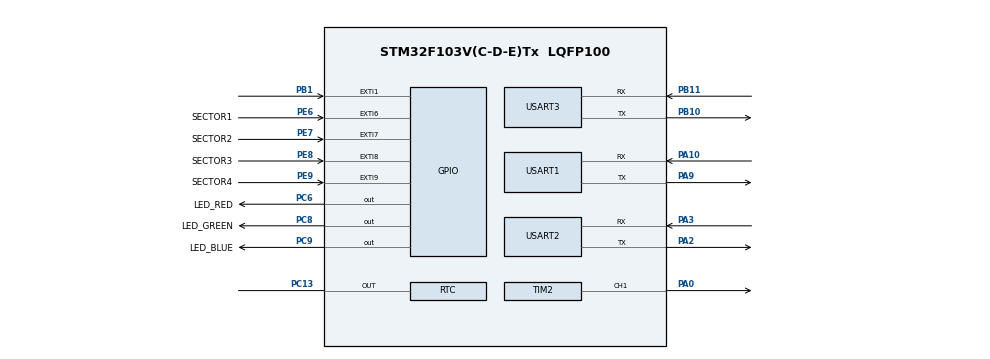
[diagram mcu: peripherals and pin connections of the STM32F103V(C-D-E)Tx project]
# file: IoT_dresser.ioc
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Mcu.Family=STM32F1
NVIC.USART3_IRQn=true\:0\:0\:false\:false\:true\:true\:true
PE7.GPIO_PuPd=GPIO_PULLUP
PB10.Mode=Asynchronous
PE8.GPIO_PuPd=GPIO_PULLUP
PC6.GPIO_Label=LED_RED
VP_RTC_VS_RTC_Activate.Mode=RTC_Enabled
RTC.WeekDay=RTC_WEEKDAY_SUNDAY
PB11.Signal=USART3_RX
PE6.GPIO_Label=SECTOR1
ProjectManager.StackSize=0x400
PC8.PinState=GPIO_PIN_SET
NVIC.RTC_IRQn=true\:0\:0\:false\:false\:true\:true\:true
NVIC.EXTI1_IRQn=true\:0\:0\:false\:false\:true\:true\:true
PB1.GPIO_PuPd=GPIO_PULLUP
PB1.GPIO_ModeDefaultEXTI=GPIO_MODE_IT_FALLING
OSC_OUT.Mode=HSE-External-Oscillator
OSC_OUT.Signal=RCC_OSC_OUT
RCC.HSE_VALUE=12000000
RCC.RTCClockSelection=RCC_RTCCLKSOURCE_HSE_DIV128
PE8.GPIO_ModeDefaultEXTI=GPIO_MODE_IT_FALLING
RTC.Month=RTC_MONTH_JULY
PE9.Signal=GPXTI9
PA14.Mode=Serial_Wire
NVIC.TIM2_IRQn=true\:0\:0\:false\:false\:true\:true\:true
TIM2.Channel-PWM\ Generation1\ CH1=TIM_CHANNEL_1
Mcu.Package=LQFP100
TIM2.Prescaler=16-1
PB1.Signal=GPXTI1
USART2.VirtualMode=VM_ASYNC
PA10.Signal=USART1_RX
VP_RTC_VS_RTC_Calendar.Mode=RTC_Calendar
PE7.Signal=GPXTI7
NVIC.USART1_IRQn=true\:0\:0\:false\:false\:true\:true\:true
PE6.GPIO_PuPd=GPIO_PULLUP
NVIC.RCC_IRQn=true\:0\:0\:false\:false\:true\:true\:false
PA3.Signal=USART2_RX
PA10.Mode=Asynchronous
PC9.GPIO_Label=LED_BLUE
PC8.Signal=GPIO_Output
PC6.Signal=GPIO_Output
PC9.PinState=GPIO_PIN_SET
PC13-TAMPER-RTC.Signal=RTC_OUT
NVIC.USART2_IRQn=true\:0\:0\:false\:false\:true\:true\:true
PA0-WKUP.Signal=S_TIM2_CH1_ETR
TIM2.Pulse-PWM\ Generation1\ CH1=750-1
PC8.GPIO_Label=LED_GREEN
PA13.Signal=SYS_JTMS-SWDIO
PA3.Mode=Asynchronous
PA9.Mode=Asynchronous
PB11.Mode=Asynchronous
ProjectManager.TargetToolchain=STM32CubeIDE
RTC.Year=21
PE8.GPIO_Label=SECTOR3
PA9.Signal=USART1_TX
OSC_IN.Signal=RCC_OSC_IN
PE9.GPIO_Label=SECTOR4
PB10.Signal=USART3_TX
PC6.PinState=GPIO_PIN_SET
PE6.GPIO_ModeDefaultEXTI=GPIO_MODE_IT_FALLING
board=custom
RTC.Hours_A-RTC\ OUT=7
PC13-TAMPER-RTC.Mode=RTC OUT
RCC.APB2Freq_Value=8000000
PE8.Signal=GPXTI8
PE7.GPIO_ModeDefaultEXTI=GPIO_MODE_IT_FALLING
TIM2.Period=10000-1
PE6.Signal=GPXTI6
PA13.Mode=Serial_Wire
NVIC.RTC_Alarm_IRQn=true\:0\:0\:false\:false\:true\:true\:true
Mcu.Name=STM32F103V(C-D-E)Tx
PE7.GPIO_Label=SECTOR2
PA2.Signal=USART2_TX
RTC.Hours=7
OSC_IN.Mode=HSE-External-Oscillator
USART3.VirtualMode=VM_ASYNC
USART1.VirtualMode=VM_ASYNC
NVIC.EXTI9_5_IRQn=true\:0\:0\:false\:false\:true\:true\:true
SH.S_TIM2_CH1_ETR.0=TIM2_CH1,PWM Generation1 CH1
PA14.Signal=SYS_JTCK-SWCLK
ProjectManager.HeapSize=0x200
NVIC.PriorityGroup=NVIC_PRIORITYGROUP_4
PA2.Mode=Asynchronous
PC9.Signal=GPIO_Output
PE9.GPIO_ModeDefaultEXTI=GPIO_MODE_IT_FALLING
RCC.APB1Freq_Value=8000000
RTC.Date=11
RTC.Seconds_A-RTC\ OUT=5
PE9.GPIO_PuPd=GPIO_PULLUP

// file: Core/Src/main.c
/* USER CODE BEGIN Header */
/**
  ******************************************************************************
  * @file           : main.c
  * @brief          : Main program body
  ******************************************************************************
  * @attention
  *
  * <h2><center>&copy; Copyright (c) 2021 STMicroelectronics.
  * All rights reserved.</center></h2>
  *
  * This software component is licensed by ST under BSD 3-Clause license,
  * the "License"; You may not use this file except in compliance with the
  * License. You may obtain a copy of the License at:
  *                        opensource.org/licenses/BSD-3-Clause
  *
  ******************************************************************************
  */
/* USER CODE END Header */
#include "main.h"
#include "rtc.h"
#include "tim.h"
#include "usart.h"
#include "gpio.h"

/* USER CODE BEGIN Includes */
#include <stdio.h>
#include <stdlib.h>
#include "WizFi250Handler.h"
#include "parsing.h"
#include "motor_rotation.h"
/* USER CODE END Includes */

/* USER CODE BEGIN PD */
#define SSID 		"iptime"
#define PASSWORD	"102102102"
#define SERVER_PORT	"80"
#define SERVER_IP	"27.101.215.194"
#define WEATHER_DATA "GET /1360000/VilageFcstInfoService/getVilageFcst?serviceKey=uDysCHb6Gh1sE7MHh9uKxayz%2FYJeRdird8CFIpHqgWuIPY95Z5%2Bp19ADhm54wFOpk4YIPwY2pZEJWhLh4Ws6zw%3D%3D&pageNo=1&numOfRows=10&dataType=JSON&base_date=20210621&base_time=2000&nx=60&ny=121\r\n\r\n"

/* USER CODE END PD */

/* USER CODE BEGIN PV */
char service_key[256] = WEATHER_DATA;
uint8_t exti_flag = 0;
uint32_t is_connected=0;
uint32_t pwm_value;
/* USER CODE END PV */

void SystemClock_Config(void);

int main(void)
{
  /* USER CODE BEGIN 1 */
	float value_T3H = 0;
	float value_Wind = 0;
	float value_REH = 0;
	float value_POP = 0;
	float value_SKY = 0;
	int i;
	char cmd[256];
	char sendView[512];
	char exists_sector = 0;
  /* USER CODE END 1 */

  /* MCU Configuration--------------------------------------------------------*/

  /* Reset of all peripherals, Initializes the Flash interface and the Systick. */
  HAL_Init();

  /* Configure the system clock */
  SystemClock_Config();

  /* Initialize all configured peripherals */
  MX_GPIO_Init();
  MX_RTC_Init();
  MX_TIM2_Init();
  MX_USART1_UART_Init();
  MX_USART2_UART_Init();
  MX_USART3_UART_Init();
  /* USER CODE BEGIN 2 */
  init_cmd_msg();
  init_sector_matching();

  printf("uart test\r\n");
  printf("Buffer check : %s\r\n", &uart2_hal_rx.buffer[0]);

  HAL_UART_Receive_IT(&huart1, &uart1_hal_rx.temp, 1);
  HAL_UART_Receive_IT(&huart2, &uart2_hal_rx.temp, 1);
  HAL_UART_Receive_IT(&huart3, &uart3_hal_rx.temp, 1);

  /////START/////
  HAL_GPIO_WritePin(LED_RED_GPIO_Port, LED_RED_Pin, RESET);
  if ( send_and_check_command("AT+WLEAVE", 1, 500,  50, "[OK]", "", 1) !=0 )	{ printf("DBG>>> Error : AT Command\r\n");}
  if ( send_and_check_command("AT+WNET=1", 1, 500,  10, "[OK]", "", 1) !=0 )	{ printf("DBG>>> Error : AT Command\r\n");}
  sprintf(cmd,"AT+WSET=0,%s",SSID);
  if ( send_and_check_command(cmd, 1, 500,  10, "[OK]", "", 1) !=0 )			{ printf("DBG>>> Error : AT Command\r\n");}
  sprintf(cmd,"AT+WSEC=0,,%s",PASSWORD);
  if ( send_and_check_command(cmd, 1, 500,  10, "[OK]", "", 1) !=0 )			{ printf("DBG>>> Error : AT Command\r\n");}
  if ( send_and_check_command("AT+WJOIN", 1, 500,  100, "[OK]", "", 1) !=0 )	{ printf("DBG>>> Error : AT Command\r\n"); Error_Handler();}
  HAL_GPIO_WritePin(LED_RED_GPIO_Port, LED_RED_Pin, SET);
  HAL_Delay(500);

  if (HAL_RTC_SetAlarm_IT(&hrtc, &sAlarm, RTC_FORMAT_BIN) != HAL_OK){
    Error_Handler();
  }
  /* USER CODE END 2 */

  /* Infinite loop */
  /* USER CODE BEGIN WHILE */
  while (1)
  {
	  switch(is_connected)
	  {
	  	  case CONNECTION_TO_SERVER:
	  		  HAL_GPIO_WritePin(LED_GREEN_GPIO_Port, LED_GREEN_Pin, RESET);
	  		  sprintf(cmd,"AT+SCON=O,TCN,%s,%s,,1",SERVER_IP,SERVER_PORT);
//			if ( send_and_check_command(cmd, 1, 500,  100, "[OK]", "[CONNECT", 1) !=0 )	{ printf("DBG>>> Error : AT Command\r\n"); break;}
	  		  if ( send_and_check_command(cmd, 1, 500,  100, "[OK]", "[CONNECT", 1) !=0 )	{ printf("DBG>>> Error : AT Command\r\n"); Error_Handler();}
	  		  is_connected = GET_WEATHER_DATA;
	  		  uart1_hal_putchar("Send Query\r\n", strlen("Send Query\r\n"));
	  		  uart2_hal_putchar(service_key, 247);
	  		  uart2_hal_rx_buffer_init();
	  		  printf("Received Data : ");
	  		  break;
	  	  case GET_WEATHER_DATA:
	  		  is_connected = uart2_hal_rx_monitor();
	  		  HAL_GPIO_WritePin(LED_GREEN_GPIO_Port, LED_GREEN_Pin, SET);
	  		  HAL_Delay(1000);
	  		  break;
	  	  case DATA_PARSING:
	  		  HAL_GPIO_WritePin(LED_BLUE_GPIO_Port, LED_BLUE_Pin, RESET);
	  		  printf("\n\nStart Parsing\n");
	  		  Data_parse1((char*)uart2_hal_rx.rx_data);
	  		  printf("End Parsing\n\n");
	  		  HAL_GPIO_WritePin(LED_BLUE_GPIO_Port, LED_BLUE_Pin, SET);
	  		  is_connected = ROTATE_MOTOR;
	  		  break;
	  	  case ROTATE_MOTOR:
	  		  HAL_GPIO_WritePin(LED_GREEN_GPIO_Port, LED_GREEN_Pin, RESET);
	  		  if(cmd_msg.cmd == Ctrl){   // if control command is sent(manual)
	  			  if(cmd_msg.msg == Sector1)
	  				  PWM_SECTOR1();
	  			  else if(cmd_msg.msg == Sector2 || cmd_msg.msg == Sector3)
	  				  PWM_SECTOR2();
	  			  else if(cmd_msg.msg == Sector4)
	  				  PWM_SECTOR4();
	  		  }
	  		  else if(cmd_msg.cmd == Select){   // if searching command is sent
	  			  for(i=0; i<4; i++){
	  				  if(sector[i].matched_weather == cmd_msg.msg){
	  					  if(i == Sector1)
	  						  PWM_SECTOR1();
	  					  else if(i == Sector2 || i == Sector3)
	  						  PWM_SECTOR2();
	  					  else if(i == Sector4)
	  						  PWM_SECTOR4();
	  					  break;
	  				  }
	  			  }
	  		  }
	  		  else if(cmd_msg.cmd == is_Invalid || cmd_msg.cmd == View){   // if no command is sent(auto)
	  			  printf("Start auto motor rotation\n");

	  			  value_T3H = char_to_float(fcst.fcstValue[T3H]);
	  			  value_Wind = (char_to_float(fcst.fcstValue[UUU]) > char_to_float(fcst.fcstValue[VVV])) ? char_to_float(fcst.fcstValue[UUU]) : char_to_float(fcst.fcstValue[VVV]);
	  			  value_Wind = (char_to_float(fcst.fcstValue[WSD]) > value_Wind) ? char_to_float(fcst.fcstValue[WSD]) : value_Wind;
	  			  value_REH = char_to_float(fcst.fcstValue[REH]);
	  			  value_POP = char_to_float(fcst.fcstValue[POP]);
	  			  value_SKY = char_to_float(fcst.fcstValue[SKY]);

	  			  printf("temperature : %f\n", value_T3H);
	  			  printf("wind speed : %f\n", value_Wind);
	  			  printf("humidity : %f\n", value_REH);
	  			  printf("precipitation probability : %f\n", value_POP);
	  			  printf("sky : %f\n", value_SKY);

	  			  for(int i = 0; i < 4; i++) {
	  				  if(sector[i].is_matched) {
	  					  if(sector[i].matched_weather == analyze_weather(value_T3H, value_Wind, value_REH, value_POP, value_SKY)){
	  						  switch(i)
	  						  {
	  						  	  case Sector1:
	  						  		  PWM_SECTOR1();
	  						  		  break;
	  						  	  case Sector2:
	  						  	  case Sector3:
	  						  		  PWM_SECTOR2();
	  						  		  break;
	  						  	  case Sector4:
	  						  		  PWM_SECTOR4();
	  						  		  break;
	  						  	  default:
	  						  		  printf("No corresponding sector found\r\n");
	  						  		  break;
	  						  }   // End switch
	  						  break;
	  					  }   // End if
	  				  }   // End if
	  			  }   // End for
	  		  }
	  		  is_connected = BT_WAITING;
	  		  HAL_Delay(100);
	  		  HAL_GPIO_WritePin(LED_GREEN_GPIO_Port, LED_GREEN_Pin, SET);
	  		  break;
	  	  case BT_WAITING:
	  		  HAL_GPIO_WritePin(LED_BLUE_GPIO_Port, LED_BLUE_Pin, RESET);
	  		  HAL_Delay(200);
	  		  if(uart3_hal_rx_monitor() == 1) {   // if '@'is received
	  			  init_cmd_msg();   // initialize command and message for new one
	  			  if(get_userMessage((char*)uart3_hal_rx.rx_data) != is_Invalid) {
	  				  if(cmd_msg.cmd == Ctrl)
	  					  is_connected = ROTATE_MOTOR;   // for manual control
	  				  else if(cmd_msg.cmd == View){
	  					  i = sprintf(sendView, "City : Suwon\n");
	  					  i += sprintf(sendView + i, "Forecast time : ");
	  					  for(int j = 0; j<4; j++){
	  						  i += sprintf(sendView + i, "%c", fcst.fcstTime[T3H][j]);
	  						  if(j==1)
	  							  i += sprintf(sendView + i, ":");
	  						  else if(j==3)
	  							  i += sprintf(sendView + i, "\n\n");
	  					  }

	  					  i += sprintf(sendView + i, "--------------- Weather Information ---------------\n");
	  					  i += sprintf(sendView + i, "Temperature : %s degrees Celsius\n", fcst.fcstValue[T3H]);
	  					  i += sprintf(sendView + i, "Humidity : %s percentage\n", fcst.fcstValue[REH]);
	  					  i += sprintf(sendView + i, "Wind speed : ");

	  					  if(char_to_float(fcst.fcstValue[UUU]) > char_to_float(fcst.fcstValue[VVV]))
	  						  i += sprintf(sendView + i, "%s m/s\n", fcst.fcstValue[UUU]);
	  					  else
	  						  i += sprintf(sendView + i, "%s m/s\n", fcst.fcstValue[VVV]);

	  					  i += sprintf(sendView + i, "Precipitation : %s percentage\n", fcst.fcstValue[POP]);
	  					  i += sprintf(sendView + i, "Sky status : ");

	  					  if(char_to_float(fcst.fcstValue[SKY]) == 1.0)
	  						  i += sprintf(sendView + i, "Clear\n");
	  					  else if(char_to_float(fcst.fcstValue[SKY]) == 3.0 || char_to_float(fcst.fcstValue[SKY]) == 4.0)
	  						  i += sprintf(sendView + i, "Cloudy\n");

	  					  uart3_hal_putchar(sendView, strlen(sendView));
	  					  is_connected = ROTATE_MOTOR;
	  				  }
	  				  else if(cmd_msg.cmd == Select){
	  					  is_connected = REGISTER_CLOTHES;   // for matching or searching sector
	  				  }
	  			  }
	  			  else {
	  				  // invalid message received
	  			  }
	  			  uart3_hal_rx_buffer_init();   // initialize uart3 receiver for future communication
	  		  }
	  		  HAL_GPIO_WritePin(LED_BLUE_GPIO_Port, LED_BLUE_Pin, SET);
	  		  HAL_Delay(200);
	  		  break;
	  	  case REGISTER_CLOTHES:
	  		  HAL_GPIO_WritePin(LED_RED_GPIO_Port, LED_RED_Pin, RESET);
	  		  exists_sector = find_sector(cmd_msg.msg);   // find empty sector only when sector is not matched (should be modified)
	  		  if(exists_sector == 0){   // there is no sector related to msg(weather)
	  			  is_connected = BT_WAITING;   // when the weather is matched for the first time -> no need for motor rotation
	  		  }
	  		  else {   // there is a sector related to msg(weather)
	  			  is_connected = ROTATE_MOTOR;   // when the weather is already matched with sector -> should rotate motor for related sector
	  		  }
	  		  HAL_GPIO_WritePin(LED_RED_GPIO_Port, LED_RED_Pin, SET);
	  		  HAL_Delay(100);
	  		  break;
	  	  default:
	  		  break;
	  }  // END SWITCH
	  /* USER CODE END WHILE */
  }
}

void SystemClock_Config(void)
{
  RCC_OscInitTypeDef RCC_OscInitStruct = {0};
  RCC_ClkInitTypeDef RCC_ClkInitStruct = {0};
  RCC_PeriphCLKInitTypeDef PeriphClkInit = {0};

  /** Initializes the RCC Oscillators according to the specified parameters
  * in the RCC_OscInitTypeDef structure.
  */
  RCC_OscInitStruct.OscillatorType = RCC_OSCILLATORTYPE_HSI|RCC_OSCILLATORTYPE_HSE;
  RCC_OscInitStruct.HSEState = RCC_HSE_ON;
  RCC_OscInitStruct.HSIState = RCC_HSI_ON;
  RCC_OscInitStruct.HSICalibrationValue = RCC_HSICALIBRATION_DEFAULT;
  RCC_OscInitStruct.PLL.PLLState = RCC_PLL_NONE;
  if (HAL_RCC_OscConfig(&RCC_OscInitStruct) != HAL_OK)
  {
    Error_Handler();
  }
  /** Initializes the CPU, AHB and APB buses clocks
  */
  RCC_ClkInitStruct.ClockType = RCC_CLOCKTYPE_HCLK|RCC_CLOCKTYPE_SYSCLK
                              |RCC_CLOCKTYPE_PCLK1|RCC_CLOCKTYPE_PCLK2;
  RCC_ClkInitStruct.SYSCLKSource = RCC_SYSCLKSOURCE_HSI;
  RCC_ClkInitStruct.AHBCLKDivider = RCC_SYSCLK_DIV1;
  RCC_ClkInitStruct.APB1CLKDivider = RCC_HCLK_DIV1;
  RCC_ClkInitStruct.APB2CLKDivider = RCC_HCLK_DIV1;

  if (HAL_RCC_ClockConfig(&RCC_ClkInitStruct, FLASH_LATENCY_0) != HAL_OK)
  {
    Error_Handler();
  }
  PeriphClkInit.PeriphClockSelection = RCC_PERIPHCLK_RTC;
  PeriphClkInit.RTCClockSelection = RCC_RTCCLKSOURCE_HSE_DIV128;
  if (HAL_RCCEx_PeriphCLKConfig(&PeriphClkInit) != HAL_OK)
  {
    Error_Handler();
  }
}

void Error_Handler(void)
{
  __disable_irq();
  while (1)
  {
  }
}

/************************ (C) COPYRIGHT STMicroelectronics *****END OF FILE****/
